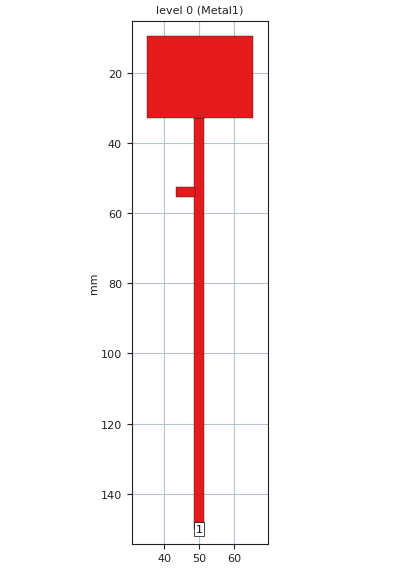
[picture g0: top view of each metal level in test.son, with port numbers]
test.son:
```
FTYP SONPROJ 19 ! Sonnet Project File
VER 18.53
HEADER
LIC SL66199d8c
DAT 05/03/2024 18:30:19
BUILT_BY_CREATED xgeom 18.53-Lite 05/02/2024 21:40:48
BUILT_BY_SAVED sonnet 18.53-Lite
MDATE 05/03/2024 18:30:19
HDATE 05/03/2024 18:30:19
END HEADER
DIM
ANG DEG
CAP PF
CON /OH
FREQ GHZ
IND NH
LNG MM
RES OH
END DIM
CONTROL
VARSWP
OPTIONS  -dj
SPEED 0
CACHE_ABS 2
Q_ACC N
END CONTROL
GEO
TMET "Free Space" 0 FREESPACE 376.7303136 0 0 0
BMET "Lossless" 0 SUP 0 0 0 0
BOX 1 100 150 400 600 20 0
      2 1 1 0 0 0 0 "Air"
      1.5 4.4 1 0.02 0 0 0 "FR-4"
TECHLAY METAL Metal1 <UNSPECIFIED> -2 -65534 
0 0 -1 N 9 1 1 100 100 0 0 0 Y
END
END
DIM STD XDIR 1
POS 31.57408288 -8.015709566
NOM 30.41
REF1 POLY 315 1
0
REF2 POLY 315 1
1
END
DIM STD YDIR 1
POS 8.292444723 23.34908254
NOM 23.45
REF1 POLY 315 1
1
REF2 POLY 315 1
2
END
DIM STD XDIR 1
POS 3.18286962 20.753905
NOM 2.867789
REF1 POLY 313 1
0
REF2 POLY 313 1
1
END
DIM STD XDIR 1
POS 5.111303464 -2.613005779
NOM 5.42123
REF1 POLY 314 1
0
REF2 POLY 314 1
1
END
DIM STD YDIR 1
POS -8.048325029 9.247363065
NOM 19.75
REF1 POLY 315 1
3
REF2 POLY 314 1
0
END
LORGN 0 6.35 U 
POR1 BOX
POLY 313 1
2
1 50 0 0 0 49.9338945 150 
NUM 3
0 5 -1 N 313 1 1 100 100 0 0 0 Y
TLAYNAM Metal1 INH
48.5 33
51.367789 33
51.367789 150
48.5 150
48.5 33
END
0 5 -1 N 314 1 1 100 100 0 0 0 Y
TLAYNAM Metal1 INH
43.289385 52.7
48.710615 52.7
48.710615 55.5
43.289385 55.5
43.289385 52.7
END
0 5 -1 N 315 1 1 100 100 0 0 0 Y
TLAYNAM Metal1 INH
35 9.5
65.41 9.5
65.41 32.95
35 32.95
35 9.5
END
END GEO
OPT
MAX 100
END OPT
VARSWP
ENABLED Y
FREQ Y AY ABS_ENTRY 2.0 4.0 -1 300 
FREQ N AN SWEEP 2.0 4.0 0.25
END
END VARSWP
```
